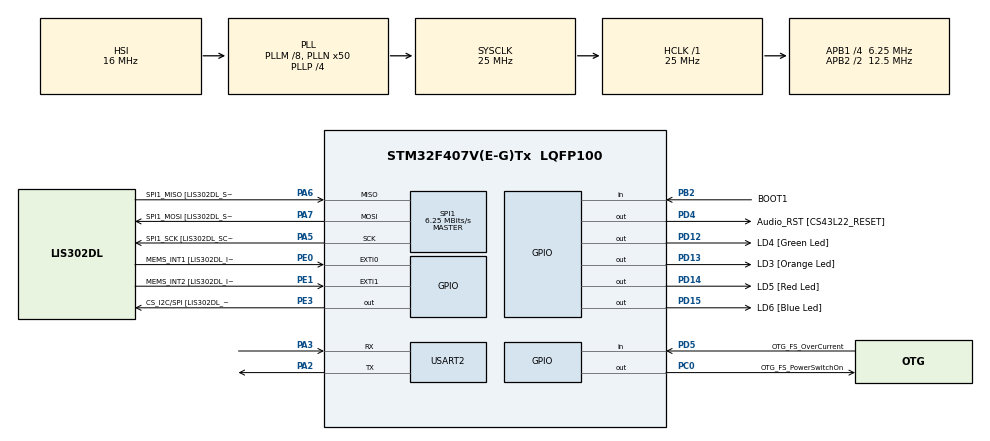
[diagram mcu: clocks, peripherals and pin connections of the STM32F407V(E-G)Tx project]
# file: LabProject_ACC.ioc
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Mcu.Family=STM32F4
Mcu.Name=STM32F407V(E-G)Tx
Mcu.Package=LQFP100
NVIC.PriorityGroup=NVIC_PRIORITYGROUP_0
PA10.GPIO_Label=OTG_FS_ID
PA10.GPIO_Mode=GPIO_MODE_AF_PP
PA10.GPIO_PuPd=GPIO_NOPULL
PA10.GPIO_Speed=GPIO_SPEED_FREQ_LOW
PA10.Signal=USB_OTG_FS_ID
PA11.GPIO_Label=OTG_FS_DM
PA11.GPIO_Mode=GPIO_MODE_AF_PP
PA11.GPIO_PuPd=GPIO_NOPULL
PA11.GPIO_Speed=GPIO_SPEED_FREQ_LOW
PA11.Signal=USB_OTG_FS_DM
PA12.GPIO_Label=OTG_FS_DP
PA12.GPIO_Mode=GPIO_MODE_AF_PP
PA12.GPIO_PuPd=GPIO_NOPULL
PA12.GPIO_Speed=GPIO_SPEED_FREQ_LOW
PA12.Signal=USB_OTG_FS_DP
PA13.GPIO_Label=SWDIO
PA13.Signal=SYS_JTMS-SWDIO
PA14.GPIO_Label=SWCLK
PA14.Signal=SYS_JTCK-SWCLK
PA2.Mode=Asynchronous
PA2.Signal=USART2_TX
PA3.Mode=Asynchronous
PA3.Signal=USART2_RX
PA4.GPIO_Label=I2S3_WS [CS43L22_LRCK]
PA4.GPIO_Mode=GPIO_MODE_AF_PP
PA4.GPIO_PuPd=GPIO_NOPULL
PA4.GPIO_Speed=GPIO_SPEED_FREQ_LOW
PA4.Signal=I2S3_WS
PA5.GPIO_Label=SPI1_SCK [LIS302DL_SCL/SPC]
PA5.GPIO_Mode=GPIO_MODE_AF_PP
PA5.GPIO_PuPd=GPIO_NOPULL
PA5.GPIO_Speed=GPIO_SPEED_FREQ_LOW
PA5.Mode=Full_Duplex_Master
PA5.Signal=SPI1_SCK
PA6.GPIO_Label=SPI1_MISO [LIS302DL_SDO]
PA6.GPIO_Mode=GPIO_MODE_AF_PP
PA6.GPIO_PuPd=GPIO_NOPULL
PA6.GPIO_Speed=GPIO_SPEED_FREQ_LOW
PA6.Mode=Full_Duplex_Master
PA6.Signal=SPI1_MISO
PA7.GPIO_Label=SPI1_MOSI [LIS302DL_SDA/SDI/SDO]
PA7.GPIO_Mode=GPIO_MODE_AF_PP
PA7.GPIO_PuPd=GPIO_NOPULL
PA7.GPIO_Speed=GPIO_SPEED_FREQ_LOW
PA7.Mode=Full_Duplex_Master
PA7.Signal=SPI1_MOSI
PA9.GPIO_Label=VBUS_FS
PA9.GPIO_Mode=GPIO_MODE_INPUT
PA9.GPIO_PuPd=GPIO_NOPULL
PA9.Signal=USB_OTG_FS_VBUS
PB10.GPIO_Label=CLK_IN [MP45DT02_CLK]
PB10.GPIO_Mode=GPIO_MODE_AF_PP
PB10.GPIO_PuPd=GPIO_NOPULL
PB10.GPIO_Speed=GPIO_SPEED_FREQ_LOW
PB10.Signal=I2S2_CK
PB2.GPIO_Label=BOOT1
PB2.GPIO_Mode=GPIO_MODE_INPUT
PB2.GPIO_PuPd=GPIO_NOPULL
PB2.Signal=GPIO_Input
PB3.GPIO_Label=SWO
PB3.Signal=SYS_JTDO-SWO
PB6.GPIO_Label=Audio_SCL [CS43L22_SCL]
PB6.GPIO_Mode=GPIO_MODE_AF_OD
PB6.GPIO_PuPd=GPIO_NOPULL
PB6.GPIO_Speed=GPIO_SPEED_FREQ_LOW
PB6.Signal=I2C1_SCL
PB9.GPIO_Label=Audio_SDA [CS43L22_SDA]
PB9.GPIO_Mode=GPIO_MODE_AF_OD
PB9.GPIO_PuPd=GPIO_NOPULL
PB9.GPIO_Speed=GPIO_SPEED_FREQ_LOW
PB9.Signal=I2C1_SDA
PC0.GPIO_Label=OTG_FS_PowerSwitchOn
PC0.GPIO_PuPd=GPIO_NOPULL
PC0.GPIO_Speed=GPIO_SPEED_FREQ_LOW
PC0.PinState=GPIO_PIN_SET
PC0.Signal=GPIO_Output
PC10.GPIO_Label=I2S3_SCK [CS43L22_SCLK]
PC10.GPIO_Mode=GPIO_MODE_AF_PP
PC10.GPIO_PuPd=GPIO_NOPULL
PC10.GPIO_Speed=GPIO_SPEED_FREQ_LOW
PC10.Signal=I2S3_CK
PC12.GPIO_Label=I2S3_SD [CS43L22_SDIN]
PC12.GPIO_Mode=GPIO_MODE_AF_PP
PC12.GPIO_PuPd=GPIO_NOPULL
PC12.GPIO_Speed=GPIO_SPEED_FREQ_LOW
PC12.Signal=I2S3_SD
PC14-OSC32_IN.GPIO_Label=PC14-OSC32_IN
PC14-OSC32_IN.Signal=RCC_OSC32_IN
PC15-OSC32_OUT.GPIO_Label=PC15-OSC32_OUT
PC15-OSC32_OUT.Signal=RCC_OSC32_OUT
PC3.GPIO_Label=PDM_OUT [MP45DT02_DOUT]
PC3.GPIO_Mode=GPIO_MODE_AF_PP
PC3.GPIO_PuPd=GPIO_NOPULL
PC3.GPIO_Speed=GPIO_SPEED_FREQ_LOW
PC3.Signal=I2S2_SD
PC7.GPIO_Label=I2S3_MCK [CS43L22_MCLK]
PC7.GPIO_Mode=GPIO_MODE_AF_PP
PC7.GPIO_PuPd=GPIO_NOPULL
PC7.GPIO_Speed=GPIO_SPEED_FREQ_LOW
PC7.Signal=I2S3_MCK
PD12.GPIO_Label=LD4 [Green Led]
PD12.GPIO_PuPd=GPIO_NOPULL
PD12.GPIO_Speed=GPIO_SPEED_FREQ_LOW
PD12.Signal=GPIO_Output
PD13.GPIO_Label=LD3 [Orange Led]
PD13.GPIO_PuPd=GPIO_NOPULL
PD13.GPIO_Speed=GPIO_SPEED_FREQ_LOW
PD13.Signal=GPIO_Output
PD14.GPIO_Label=LD5 [Red Led]
PD14.GPIO_PuPd=GPIO_NOPULL
PD14.GPIO_Speed=GPIO_SPEED_FREQ_LOW
PD14.Signal=GPIO_Output
PD15.GPIO_Label=LD6 [Blue Led]
PD15.GPIO_PuPd=GPIO_NOPULL
PD15.GPIO_Speed=GPIO_SPEED_FREQ_LOW
PD15.Signal=GPIO_Output
PD4.GPIO_Label=Audio_RST [CS43L22_RESET]
PD4.GPIO_PuPd=GPIO_NOPULL
PD4.GPIO_Speed=GPIO_SPEED_FREQ_LOW
PD4.Signal=GPIO_Output
PD5.GPIO_Label=OTG_FS_OverCurrent
PD5.GPIO_Mode=GPIO_MODE_INPUT
PD5.GPIO_PuPd=GPIO_NOPULL
PD5.Signal=GPIO_Input
PE0.GPIO_Label=MEMS_INT1 [LIS302DL_INT1]
PE0.Signal=GPXTI0
PE1.GPIO_Label=MEMS_INT2 [LIS302DL_INT2]
PE1.GPIO_ModeDefaultEXTI=GPIO_MODE_EVT_RISING
PE1.GPIO_PuPd=GPIO_NOPULL
PE1.Signal=GPXTI1
PE3.GPIO_Label=CS_I2C/SPI [LIS302DL_CS_I2C/SPI]
PE3.GPIO_PuPd=GPIO_NOPULL
PE3.GPIO_Speed=GPIO_SPEED_FREQ_LOW
PE3.Signal=GPIO_Output
PH0-OSC_IN.GPIO_Label=PH0-OSC_IN
PH0-OSC_IN.Signal=RCC_OSC_IN
PH1-OSC_OUT.GPIO_Label=PH1-OSC_OUT
PH1-OSC_OUT.Signal=RCC_OSC_OUT
ProjectManager.HeapSize=0x200
ProjectManager.StackSize=0x400
ProjectManager.TargetToolchain=SW4STM32
RCC.48MHZClocksFreq_Value=14285714.285714285
RCC.AHBFreq_Value=25000000
RCC.APB1CLKDivider=RCC_HCLK_DIV4
RCC.APB1Freq_Value=6250000
RCC.APB1TimFreq_Value=12500000
RCC.APB2CLKDivider=RCC_HCLK_DIV2
RCC.APB2Freq_Value=12500000
RCC.APB2TimFreq_Value=25000000
RCC.CortexFreq_Value=25000000
RCC.HCLKFreq_Value=25000000
RCC.HSE_VALUE=8000000
RCC.HSI_VALUE=16000000
RCC.LSE_VALUE=32768
RCC.PLLM=8
RCC.PLLN=50
RCC.PLLP=RCC_PLLP_DIV4
RCC.PLLQ=7
RCC.SYSCLKFreq_VALUE=25000000
RCC.SYSCLKSource=RCC_SYSCLKSOURCE_PLLCLK
RCC.VCOOutputFreq_Value=100000000
SPI1.CalculateBaudRate=6.25 MBits/s
SPI1.Mode=SPI_MODE_MASTER
board=STM32F407G-DISC1

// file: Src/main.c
/**
  ******************************************************************************
  * File Name          : main.c
  * Description        : Main program body
  ******************************************************************************
  *
  * COPYRIGHT(c) 2016 STMicroelectronics
  *
  * Redistribution and use in source and binary forms, with or without modification,
  * are permitted provided that the following conditions are met:
  *   1. Redistributions of source code must retain the above copyright notice,
  *      this list of conditions and the following disclaimer.
  *   2. Redistributions in binary form must reproduce the above copyright notice,
  *      this list of conditions and the following disclaimer in the documentation
  *      and/or other materials provided with the distribution.
  *   3. Neither the name of STMicroelectronics nor the names of its contributors
  *      may be used to endorse or promote products derived from this software
  *      without specific prior written permission.
  *
  * THIS SOFTWARE IS PROVIDED BY THE COPYRIGHT HOLDERS AND CONTRIBUTORS "AS IS"
  * AND ANY EXPRESS OR IMPLIED WARRANTIES, INCLUDING, BUT NOT LIMITED TO, THE
  * IMPLIED WARRANTIES OF MERCHANTABILITY AND FITNESS FOR A PARTICULAR PURPOSE ARE
  * DISCLAIMED. IN NO EVENT SHALL THE COPYRIGHT HOLDER OR CONTRIBUTORS BE LIABLE
  * FOR ANY DIRECT, INDIRECT, INCIDENTAL, SPECIAL, EXEMPLARY, OR CONSEQUENTIAL
  * DAMAGES (INCLUDING, BUT NOT LIMITED TO, PROCUREMENT OF SUBSTITUTE GOODS OR
  * SERVICES; LOSS OF USE, DATA, OR PROFITS; OR BUSINESS INTERRUPTION) HOWEVER
  * CAUSED AND ON ANY THEORY OF LIABILITY, WHETHER IN CONTRACT, STRICT LIABILITY,
  * OR TORT (INCLUDING NEGLIGENCE OR OTHERWISE) ARISING IN ANY WAY OUT OF THE USE
  * OF THIS SOFTWARE, EVEN IF ADVISED OF THE POSSIBILITY OF SUCH DAMAGE.
  *
  ******************************************************************************
  */
#include "main.h"
#include "stm32f4xx_hal.h"

SPI_HandleTypeDef hspi1;

UART_HandleTypeDef huart2;

/* USER CODE BEGIN PV */
/* Private variables ---------------------------------------------------------*/

/* USER CODE END PV */

void SystemClock_Config(void);
void Error_Handler(void);
static void MX_GPIO_Init(void);
static void MX_SPI1_Init(void);
static void MX_USART2_UART_Init(void);

/* USER CODE BEGIN PFP */
/* Private function prototypes -----------------------------------------------*/

/* USER CODE END PFP */

int main(void)
{

  /* MCU Configuration----------------------------------------------------------*/

  /* Reset of all peripherals, Initializes the Flash interface and the Systick. */
  HAL_Init();

  /* Configure the system clock */
  SystemClock_Config();

  /* Initialize all configured peripherals */
  MX_GPIO_Init();
  MX_SPI1_Init();
  MX_USART2_UART_Init();

  /* USER CODE BEGIN 2 */
  uint8_t addr;
  uint8_t data;
  int8_t x,y,z = 0;

  //start sending data
  HAL_GPIO_WritePin(GPIOE,GPIO_PIN_3,GPIO_PIN_RESET);

  addr = 0x20; // ctrl_reg
  HAL_SPI_Transmit(&hspi1,&addr,1,50);

  data = 0x47; // 0100 0111 active X Y Z and full scale is +-2.0g
  HAL_SPI_Transmit(&hspi1,&data,1,50);

  HAL_GPIO_WritePin(GPIOE,GPIO_PIN_3,GPIO_PIN_SET);
  /* USER CODE END 2 */

  /* Infinite loop */
  while (1)
  {

  /* USER CODE BEGIN 3 */
	  HAL_GPIO_WritePin(GPIOE, GPIO_PIN_3, GPIO_PIN_RESET);

	  // OUT_X
	  addr = 0x29 | 0x80;
	  HAL_SPI_Transmit(&hspi1,&addr,1,50);
	  HAL_SPI_Receive(&hspi1,&x,1,50);

	  // OUT_Y
	  addr = 0x2B | 0x80;
	  HAL_SPI_Transmit(&hspi1,&addr,1,50);
	  HAL_SPI_Receive(&hspi1,&y,1,50);

	  // OUT_Z
	  addr = 0x2D | 0x80;
	  HAL_SPI_Transmit(&hspi1,&addr,1,50);
	  HAL_SPI_Receive(&hspi1,&z,1,50);

	  //-127 to 127
	  if (z <= -30) {
	  			HAL_GPIO_WritePin(GPIOD, GPIO_PIN_12, GPIO_PIN_SET);
	  			HAL_GPIO_WritePin(GPIOD, GPIO_PIN_13, GPIO_PIN_SET);
	  			HAL_GPIO_WritePin(GPIOD, GPIO_PIN_14, GPIO_PIN_SET);
	  			HAL_GPIO_WritePin(GPIOD, GPIO_PIN_15, GPIO_PIN_SET);
	  			HAL_Delay(500);
	  			HAL_GPIO_WritePin(GPIOD, GPIO_PIN_12, GPIO_PIN_RESET);
	  			HAL_GPIO_WritePin(GPIOD, GPIO_PIN_13, GPIO_PIN_RESET);
	  			HAL_GPIO_WritePin(GPIOD, GPIO_PIN_14, GPIO_PIN_RESET);
	  			HAL_GPIO_WritePin(GPIOD, GPIO_PIN_15, GPIO_PIN_RESET);
	  			HAL_Delay(10);
	  } else {
	  			//LEFT
	  			if (x <= -15)
	  				HAL_GPIO_WritePin(GPIOD, GPIO_PIN_12, GPIO_PIN_SET);
	  			else
	  				HAL_GPIO_WritePin(GPIOD, GPIO_PIN_12, GPIO_PIN_RESET);
	  			//RIGHT
	  			if (x >= 15)
	  				HAL_GPIO_WritePin(GPIOD, GPIO_PIN_14, GPIO_PIN_SET);
	  			else
	  				HAL_GPIO_WritePin(GPIOD, GPIO_PIN_14, GPIO_PIN_RESET);
	  			//UP
	  			if (y >= 15)
	  				HAL_GPIO_WritePin(GPIOD, GPIO_PIN_13, GPIO_PIN_SET);
	  			else
	  				HAL_GPIO_WritePin(GPIOD, GPIO_PIN_13, GPIO_PIN_RESET);
	  			//DOWN
	  			if (y <= -15)
	  				HAL_GPIO_WritePin(GPIOD, GPIO_PIN_15, GPIO_PIN_SET);
	  			else
	  				HAL_GPIO_WritePin(GPIOD, GPIO_PIN_15, GPIO_PIN_RESET);
	  }

	  HAL_GPIO_WritePin(GPIOE, GPIO_PIN_3, GPIO_PIN_SET);

	  char uart_output[60];
	  int uart_output_size;
	  uart_output_size = sprintf(uart_output,"accelerometer result x = %d : y = %d : z = %d \n\r",x,y,z);
	  HAL_UART_Transmit(&huart2,uart_output, uart_output_size, 100000);

	  HAL_Delay(500);
  }
  /* USER CODE END 3 */

}

/** System Clock Configuration
*/
void SystemClock_Config(void)
{

  RCC_OscInitTypeDef RCC_OscInitStruct;
  RCC_ClkInitTypeDef RCC_ClkInitStruct;

    /**Configure the main internal regulator output voltage
    */
  __HAL_RCC_PWR_CLK_ENABLE();

  __HAL_PWR_VOLTAGESCALING_CONFIG(PWR_REGULATOR_VOLTAGE_SCALE1);

    /**Initializes the CPU, AHB and APB busses clocks
    */
  RCC_OscInitStruct.OscillatorType = RCC_OSCILLATORTYPE_HSI;
  RCC_OscInitStruct.HSIState = RCC_HSI_ON;
  RCC_OscInitStruct.HSICalibrationValue = 16;
  RCC_OscInitStruct.PLL.PLLState = RCC_PLL_ON;
  RCC_OscInitStruct.PLL.PLLSource = RCC_PLLSOURCE_HSI;
  RCC_OscInitStruct.PLL.PLLM = 8;
  RCC_OscInitStruct.PLL.PLLN = 50;
  RCC_OscInitStruct.PLL.PLLP = RCC_PLLP_DIV4;
  RCC_OscInitStruct.PLL.PLLQ = 7;
  if (HAL_RCC_OscConfig(&RCC_OscInitStruct) != HAL_OK)
  {
    Error_Handler();
  }

    /**Initializes the CPU, AHB and APB busses clocks
    */
  RCC_ClkInitStruct.ClockType = RCC_CLOCKTYPE_HCLK|RCC_CLOCKTYPE_SYSCLK
                              |RCC_CLOCKTYPE_PCLK1|RCC_CLOCKTYPE_PCLK2;
  RCC_ClkInitStruct.SYSCLKSource = RCC_SYSCLKSOURCE_PLLCLK;
  RCC_ClkInitStruct.AHBCLKDivider = RCC_SYSCLK_DIV1;
  RCC_ClkInitStruct.APB1CLKDivider = RCC_HCLK_DIV4;
  RCC_ClkInitStruct.APB2CLKDivider = RCC_HCLK_DIV2;

  if (HAL_RCC_ClockConfig(&RCC_ClkInitStruct, FLASH_LATENCY_0) != HAL_OK)
  {
    Error_Handler();
  }

    /**Configure the Systick interrupt time
    */
  HAL_SYSTICK_Config(HAL_RCC_GetHCLKFreq()/1000);

    /**Configure the Systick
    */
  HAL_SYSTICK_CLKSourceConfig(SYSTICK_CLKSOURCE_HCLK);

  /* SysTick_IRQn interrupt configuration */
  HAL_NVIC_SetPriority(SysTick_IRQn, 0, 0);
}

/* SPI1 init function */
static void MX_SPI1_Init(void)
{

  hspi1.Instance = SPI1;
  hspi1.Init.Mode = SPI_MODE_MASTER;
  hspi1.Init.Direction = SPI_DIRECTION_2LINES;
  hspi1.Init.DataSize = SPI_DATASIZE_8BIT;
  hspi1.Init.CLKPolarity = SPI_POLARITY_LOW;
  hspi1.Init.CLKPhase = SPI_PHASE_1EDGE;
  hspi1.Init.NSS = SPI_NSS_SOFT;
  hspi1.Init.BaudRatePrescaler = SPI_BAUDRATEPRESCALER_2;
  hspi1.Init.FirstBit = SPI_FIRSTBIT_MSB;
  hspi1.Init.TIMode = SPI_TIMODE_DISABLE;
  hspi1.Init.CRCCalculation = SPI_CRCCALCULATION_DISABLE;
  hspi1.Init.CRCPolynomial = 10;
  if (HAL_SPI_Init(&hspi1) != HAL_OK)
  {
    Error_Handler();
  }

}

/* USART2 init function */
static void MX_USART2_UART_Init(void)
{

  huart2.Instance = USART2;
  huart2.Init.BaudRate = 115200;
  huart2.Init.WordLength = UART_WORDLENGTH_8B;
  huart2.Init.StopBits = UART_STOPBITS_1;
  huart2.Init.Parity = UART_PARITY_NONE;
  huart2.Init.Mode = UART_MODE_TX_RX;
  huart2.Init.HwFlowCtl = UART_HWCONTROL_NONE;
  huart2.Init.OverSampling = UART_OVERSAMPLING_16;
  if (HAL_UART_Init(&huart2) != HAL_OK)
  {
    Error_Handler();
  }

}

/** Configure pins as
        * Analog
        * Input
        * Output
        * EVENT_OUT
        * EXTI
     PC3   ------> I2S2_SD
     PA4   ------> I2S3_WS
     PB10   ------> I2S2_CK
     PC7   ------> I2S3_MCK
     PA9   ------> USB_OTG_FS_VBUS
     PA10   ------> USB_OTG_FS_ID
     PA11   ------> USB_OTG_FS_DM
     PA12   ------> USB_OTG_FS_DP
     PC10   ------> I2S3_CK
     PC12   ------> I2S3_SD
     PB6   ------> I2C1_SCL
     PB9   ------> I2C1_SDA
*/
static void MX_GPIO_Init(void)
{

  GPIO_InitTypeDef GPIO_InitStruct;

  /* GPIO Ports Clock Enable */
  __HAL_RCC_GPIOE_CLK_ENABLE();
  __HAL_RCC_GPIOC_CLK_ENABLE();
  __HAL_RCC_GPIOH_CLK_ENABLE();
  __HAL_RCC_GPIOA_CLK_ENABLE();
  __HAL_RCC_GPIOB_CLK_ENABLE();
  __HAL_RCC_GPIOD_CLK_ENABLE();

  /*Configure GPIO pin Output Level */
  HAL_GPIO_WritePin(CS_I2C_SPI_GPIO_Port, CS_I2C_SPI_Pin, GPIO_PIN_RESET);

  /*Configure GPIO pin Output Level */
  HAL_GPIO_WritePin(OTG_FS_PowerSwitchOn_GPIO_Port, OTG_FS_PowerSwitchOn_Pin, GPIO_PIN_SET);

  /*Configure GPIO pin Output Level */
  HAL_GPIO_WritePin(GPIOD, LD4_Pin|LD3_Pin|LD5_Pin|LD6_Pin
                          |Audio_RST_Pin, GPIO_PIN_RESET);

  /*Configure GPIO pin : CS_I2C_SPI_Pin */
  GPIO_InitStruct.Pin = CS_I2C_SPI_Pin;
  GPIO_InitStruct.Mode = GPIO_MODE_OUTPUT_PP;
  GPIO_InitStruct.Pull = GPIO_NOPULL;
  GPIO_InitStruct.Speed = GPIO_SPEED_FREQ_LOW;
  HAL_GPIO_Init(CS_I2C_SPI_GPIO_Port, &GPIO_InitStruct);

  /*Configure GPIO pin : OTG_FS_PowerSwitchOn_Pin */
  GPIO_InitStruct.Pin = OTG_FS_PowerSwitchOn_Pin;
  GPIO_InitStruct.Mode = GPIO_MODE_OUTPUT_PP;
  GPIO_InitStruct.Pull = GPIO_NOPULL;
  GPIO_InitStruct.Speed = GPIO_SPEED_FREQ_LOW;
  HAL_GPIO_Init(OTG_FS_PowerSwitchOn_GPIO_Port, &GPIO_InitStruct);

  /*Configure GPIO pin : PDM_OUT_Pin */
  GPIO_InitStruct.Pin = PDM_OUT_Pin;
  GPIO_InitStruct.Mode = GPIO_MODE_AF_PP;
  GPIO_InitStruct.Pull = GPIO_NOPULL;
  GPIO_InitStruct.Speed = GPIO_SPEED_FREQ_LOW;
  GPIO_InitStruct.Alternate = GPIO_AF5_SPI2;
  HAL_GPIO_Init(PDM_OUT_GPIO_Port, &GPIO_InitStruct);

  /*Configure GPIO pin : PA4 */
  GPIO_InitStruct.Pin = GPIO_PIN_4;
  GPIO_InitStruct.Mode = GPIO_MODE_AF_PP;
  GPIO_InitStruct.Pull = GPIO_NOPULL;
  GPIO_InitStruct.Speed = GPIO_SPEED_FREQ_LOW;
  GPIO_InitStruct.Alternate = GPIO_AF6_SPI3;
  HAL_GPIO_Init(GPIOA, &GPIO_InitStruct);

  /*Configure GPIO pin : BOOT1_Pin */
  GPIO_InitStruct.Pin = BOOT1_Pin;
  GPIO_InitStruct.Mode = GPIO_MODE_INPUT;
  GPIO_InitStruct.Pull = GPIO_NOPULL;
  HAL_GPIO_Init(BOOT1_GPIO_Port, &GPIO_InitStruct);

  /*Configure GPIO pin : CLK_IN_Pin */
  GPIO_InitStruct.Pin = CLK_IN_Pin;
  GPIO_InitStruct.Mode = GPIO_MODE_AF_PP;
  GPIO_InitStruct.Pull = GPIO_NOPULL;
  GPIO_InitStruct.Speed = GPIO_SPEED_FREQ_LOW;
  GPIO_InitStruct.Alternate = GPIO_AF5_SPI2;
  HAL_GPIO_Init(CLK_IN_GPIO_Port, &GPIO_InitStruct);

  /*Configure GPIO pins : LD4_Pin LD3_Pin LD5_Pin LD6_Pin
                           Audio_RST_Pin */
  GPIO_InitStruct.Pin = LD4_Pin|LD3_Pin|LD5_Pin|LD6_Pin
                          |Audio_RST_Pin;
  GPIO_InitStruct.Mode = GPIO_MODE_OUTPUT_PP;
  GPIO_InitStruct.Pull = GPIO_NOPULL;
  GPIO_InitStruct.Speed = GPIO_SPEED_FREQ_LOW;
  HAL_GPIO_Init(GPIOD, &GPIO_InitStruct);

  /*Configure GPIO pins : PC7 I2S3_SCK_Pin PC12 */
  GPIO_InitStruct.Pin = GPIO_PIN_7|I2S3_SCK_Pin|GPIO_PIN_12;
  GPIO_InitStruct.Mode = GPIO_MODE_AF_PP;
  GPIO_InitStruct.Pull = GPIO_NOPULL;
  GPIO_InitStruct.Speed = GPIO_SPEED_FREQ_LOW;
  GPIO_InitStruct.Alternate = GPIO_AF6_SPI3;
  HAL_GPIO_Init(GPIOC, &GPIO_InitStruct);

  /*Configure GPIO pin : VBUS_FS_Pin */
  GPIO_InitStruct.Pin = VBUS_FS_Pin;
  GPIO_InitStruct.Mode = GPIO_MODE_INPUT;
  GPIO_InitStruct.Pull = GPIO_NOPULL;
  HAL_GPIO_Init(VBUS_FS_GPIO_Port, &GPIO_InitStruct);

  /*Configure GPIO pins : OTG_FS_ID_Pin OTG_FS_DM_Pin OTG_FS_DP_Pin */
  GPIO_InitStruct.Pin = OTG_FS_ID_Pin|OTG_FS_DM_Pin|OTG_FS_DP_Pin;
  GPIO_InitStruct.Mode = GPIO_MODE_AF_PP;
  GPIO_InitStruct.Pull = GPIO_NOPULL;
  GPIO_InitStruct.Speed = GPIO_SPEED_FREQ_LOW;
  GPIO_InitStruct.Alternate = GPIO_AF10_OTG_FS;
  HAL_GPIO_Init(GPIOA, &GPIO_InitStruct);

  /*Configure GPIO pin : OTG_FS_OverCurrent_Pin */
  GPIO_InitStruct.Pin = OTG_FS_OverCurrent_Pin;
  GPIO_InitStruct.Mode = GPIO_MODE_INPUT;
  GPIO_InitStruct.Pull = GPIO_NOPULL;
  HAL_GPIO_Init(OTG_FS_OverCurrent_GPIO_Port, &GPIO_InitStruct);

  /*Configure GPIO pins : Audio_SCL_Pin Audio_SDA_Pin */
  GPIO_InitStruct.Pin = Audio_SCL_Pin|Audio_SDA_Pin;
  GPIO_InitStruct.Mode = GPIO_MODE_AF_OD;
  GPIO_InitStruct.Pull = GPIO_PULLUP;
  GPIO_InitStruct.Speed = GPIO_SPEED_FREQ_LOW;
  GPIO_InitStruct.Alternate = GPIO_AF4_I2C1;
  HAL_GPIO_Init(GPIOB, &GPIO_InitStruct);

  /*Configure GPIO pin : MEMS_INT1_Pin */
  GPIO_InitStruct.Pin = MEMS_INT1_Pin;
  GPIO_InitStruct.Mode = GPIO_MODE_IT_RISING;
  GPIO_InitStruct.Pull = GPIO_NOPULL;
  HAL_GPIO_Init(MEMS_INT1_GPIO_Port, &GPIO_InitStruct);

  /*Configure GPIO pin : MEMS_INT2_Pin */
  GPIO_InitStruct.Pin = MEMS_INT2_Pin;
  GPIO_InitStruct.Mode = GPIO_MODE_EVT_RISING;
  GPIO_InitStruct.Pull = GPIO_NOPULL;
  HAL_GPIO_Init(MEMS_INT2_GPIO_Port, &GPIO_InitStruct);

}

void Error_Handler(void)
{
  while(1)
  {
  }
}

/************************ (C) COPYRIGHT STMicroelectronics *****END OF FILE****/
